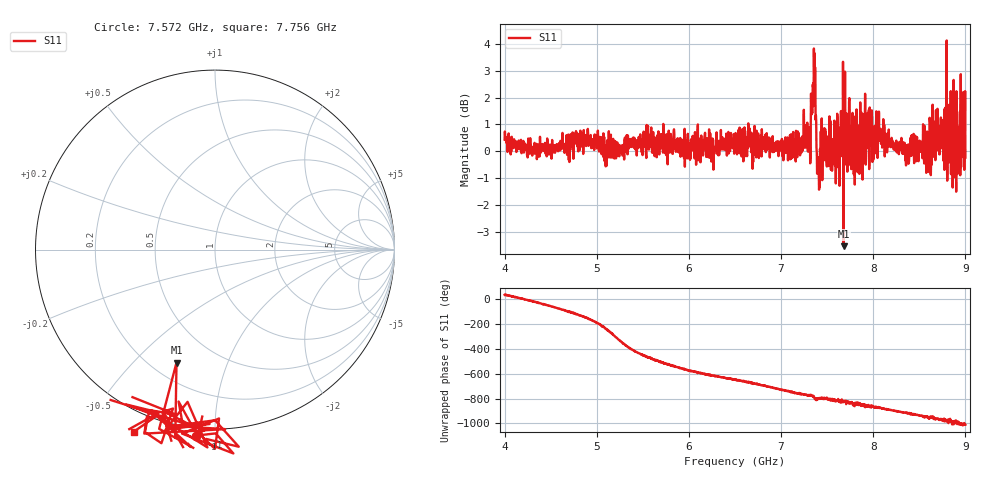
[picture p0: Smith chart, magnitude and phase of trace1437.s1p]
! Created with skrf 1.8.0 (http://scikit-rf.org).
# Hz S RI R 50.0
!freq ReS11 ImS11
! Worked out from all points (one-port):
!   1601 points, 4 GHz to 9 GHz, reference 50 ohm
!   lowest |S11| = -3.5 dB at 7.678 GHz (marker M1), VSWR 4.96, Z = 14.9 - j33.6 ohm
!   |S11| at or under -10 dB: nowhere
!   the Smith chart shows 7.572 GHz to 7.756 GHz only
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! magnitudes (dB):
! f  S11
! 4 GHz  0.4
! 4.356 GHz  -0.2
! 4.625 GHz  0.3
! 4.881 GHz  0.5
! 5.25 GHz  0.0
! 5.566 GHz  0.1
! 5.875 GHz  0.0
! 6.5 GHz  0.0
! 7.125 GHz  0.4
! 7.294 GHz  0.0
! 7.316 GHz  -0.5
! 7.347 GHz  2.4
! 7.366 GHz  2.0
! 7.397 GHz  -0.3
! 7.409 GHz  -0.7
! 7.481 GHz  0.3
! 7.609 GHz  1.4
! 7.678 GHz  -3.5
! 7.75 GHz  0.0
! 7.962 GHz  1.6
! 8.375 GHz  -0.1
! 8.522 GHz  0.0
! 8.6 GHz  0.1
! 8.656 GHz  1.1
! 8.772 GHz  -0.7
! 8.875 GHz  0.9
! 8.972 GHz  0.7
! 9 GHz  -0.2
